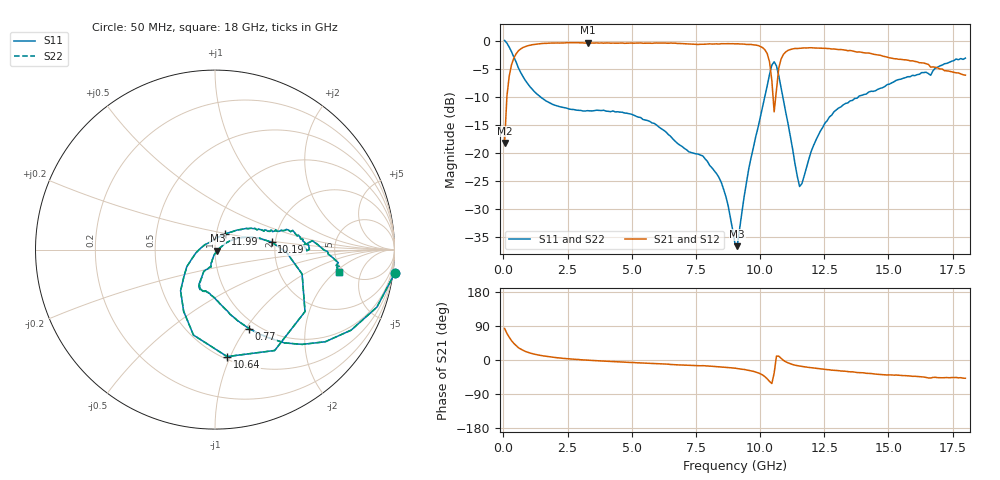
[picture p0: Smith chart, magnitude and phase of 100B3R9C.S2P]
!  American Technical Ceramics  Date:  3/13/98
!  One Norden Lane
!  Huntington Station,  NY.  11746-2102
!  Tel:  (516) 547-5700  Fax:  (516) 547-5748
!  Part Number  100b3r9c
!  Description: Porcelain, High Q, Low ESR
!  Application: Bypass, Coupling, Timing, Feedback
!  Tuning, Impedance Match, Blocking
# GHZ S DB R 50
! Freq  |S11|  S11 Ph  |S21|  S21 Ph  |S12|  S12 Ph  |S22|  S22 Ph
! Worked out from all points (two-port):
!   201 points, 50 MHz to 18 GHz, reference 50 ohm
!   highest |S21| = -0.29 dB at 3.28 GHz (marker M1); lowest = -18.2 dB at 50 MHz (marker M2)
!   |S21| within 3 dB of the highest: 390.3 MHz to 10.34 GHz (9.953 GHz wide, 185 % of centre); 10.82 GHz to 15.52 GHz (4.7 GHz wide, 35.7 % of centre)
!   lowest |S11| = -36.6 dB at 9.11 GHz (marker M3), VSWR 1.03, Z = 51.4 - j0.583 ohm
!   |S11| at or under -10 dB: 1.453 GHz to 10.19 GHz (8.733 GHz wide, 150 % of centre); 10.89 GHz to 13.83 GHz (2.936 GHz wide, 23.8 % of centre)
!   |S22| runs from -36.6 to 0.1 dB; largest |S21 - S12| = 0
!   S11 on the Smith chart (normalised r, x): 50 MHz: -1, -16; 770 MHz: 0.91, -1.04; 10.19 GHz: 1.92, +0.17; 10.64 GHz: 0.52, -0.97; 11.99 GHz: 1.10, +0.19; 18 GHz: 4.62, -2.25
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0.05  0.10 -7.3  -18.21 83.1  -18.21 83.1  0.10 -7.3
0.14  -0.38 -19.6  -9.85 70.3  -9.85 70.3  -0.38 -19.6
0.23  -1.10 -30.6  -6.25 60.0  -6.25 60.0  -1.10 -30.6
0.77  -6.38 -66.6  -1.15 25.4  -1.15 25.4  -6.38 -66.6
3.1  -12.49 -102.3  -0.33 0.3  -0.33 0.3  -12.49 -102.3
3.28  -12.43 -103.6  -0.29 -0.8  -0.29 -0.8  -12.43 -103.6
6.06  -15.36 -115.3  -0.37 -10.1  -0.37 -10.1  -15.36 -115.3
8.31  -23.71 -104.1  -0.51 -17.5  -0.51 -17.5  -23.71 -104.1
9.03  -36.32 -57.4  -0.51 -21.6  -0.51 -21.6  -36.32 -57.4
9.11  -36.63 -22.6  -0.49 -22.6  -0.49 -22.6  -36.63 -22.6
9.56  -22.85 31.1  -0.62 -27.4  -0.62 -27.4  -22.85 31.1
10.19  -9.92 7.3  -1.57 -44.1  -1.57 -44.1  -9.92 7.3
10.46  -4.31 -34.5  -7.02 -62.1  -7.02 -62.1  -4.31 -34.5
10.55  -3.70 -59.4  -12.65 -34.7  -12.65 -34.7  -3.70 -59.4
10.64  -4.44 -83.5  -8.73 10.3  -8.73 10.3  -4.44 -83.5
10.91  -10.49 -129.9  -2.40 -0.9  -2.40 -0.9  -10.49 -129.9
11.54  -25.97 127.2  -1.30 -16.0  -1.30 -16.0  -25.97 127.2
11.99  -19.74 57.1  -1.20 -20.4  -1.20 -20.4  -19.74 57.1
12.08  -18.71 52.7  -1.23 -21.0  -1.23 -21.0  -18.71 52.7
13.06  -11.96 27.9  -1.53 -28.1  -1.53 -28.1  -11.96 27.9
15.04  -7.69 15.9  -3.00 -39.3  -3.00 -39.3  -7.69 15.9
18  -3.05 -10.1  -6.10 -48.1  -6.10 -48.1  -3.05 -10.1
